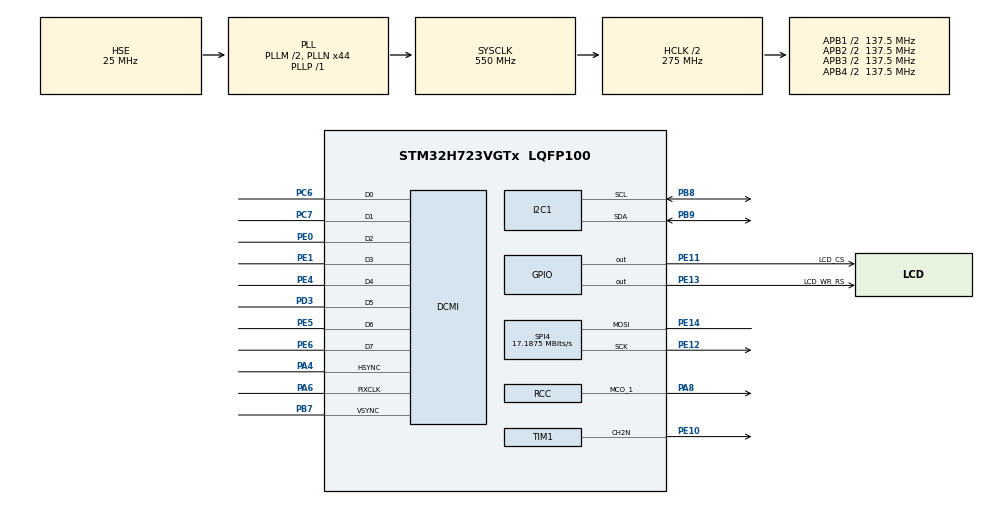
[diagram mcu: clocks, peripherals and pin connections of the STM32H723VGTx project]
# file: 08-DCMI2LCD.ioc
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CORTEX_M7.CPU_DCache=Disabled
CORTEX_M7.CPU_ICache=Disabled
CORTEX_M7.MPU_Control=__NULL
DCMI.CaptureRate=DCMI_CR_ALL_FRAME
DCMI.PCKPolarity=DCMI_PCKPOLARITY_RISING
Dma.DCMI.0.Direction=DMA_PERIPH_TO_MEMORY
Dma.DCMI.0.EventEnable=DISABLE
Dma.DCMI.0.FIFOMode=DMA_FIFOMODE_DISABLE
Dma.DCMI.0.Instance=DMA1_Stream0
Dma.DCMI.0.MemDataAlignment=DMA_MDATAALIGN_WORD
Dma.DCMI.0.MemInc=DMA_MINC_ENABLE
Dma.DCMI.0.Mode=DMA_CIRCULAR
Dma.DCMI.0.PeriphDataAlignment=DMA_PDATAALIGN_WORD
Dma.DCMI.0.PeriphInc=DMA_PINC_DISABLE
Dma.DCMI.0.Polarity=HAL_DMAMUX_REQ_GEN_RISING
Dma.DCMI.0.Priority=DMA_PRIORITY_MEDIUM
Dma.DCMI.0.RequestNumber=1
Dma.DCMI.0.SignalID=NONE
Dma.DCMI.0.SyncEnable=DISABLE
Dma.DCMI.0.SyncPolarity=HAL_DMAMUX_SYNC_NO_EVENT
Dma.DCMI.0.SyncRequestNumber=1
Dma.DCMI.0.SyncSignalID=NONE
Dma.Request0=DCMI
I2C1.Timing=0x60404E72
Mcu.Family=STM32H7
Mcu.Name=STM32H723VGTx
Mcu.Package=LQFP100
NVIC.DCMI_PSSI_IRQn=true\:0\:0\:false\:false\:true\:true\:true\:true
NVIC.DMA1_Stream0_IRQn=true\:0\:0\:false\:false\:true\:false\:true\:true
NVIC.PriorityGroup=NVIC_PRIORITYGROUP_4
PA13(JTMS/SWDIO).Mode=Serial_Wire
PA13(JTMS/SWDIO).Signal=DEBUG_JTMS-SWDIO
PA14(JTCK/SWCLK).Mode=Serial_Wire
PA14(JTCK/SWCLK).Signal=DEBUG_JTCK-SWCLK
PA4.Mode=Slave_8_bits_External_Synchro
PA4.Signal=DCMI_HSYNC
PA6.Mode=Slave_8_bits_External_Synchro
PA6.Signal=DCMI_PIXCLK
PA8.Mode=Clock-out-1
PA8.Signal=RCC_MCO_1
PB7.Mode=Slave_8_bits_External_Synchro
PB7.Signal=DCMI_VSYNC
PB8.Mode=I2C
PB8.Signal=I2C1_SCL
PB9.Mode=I2C
PB9.Signal=I2C1_SDA
PC14-OSC32_IN.Mode=LSE-External-Oscillator
PC14-OSC32_IN.Signal=RCC_OSC32_IN
PC15-OSC32_OUT.Mode=LSE-External-Oscillator
PC15-OSC32_OUT.Signal=RCC_OSC32_OUT
PC6.Mode=Slave_8_bits_External_Synchro
PC6.Signal=DCMI_D0
PC7.Mode=Slave_8_bits_External_Synchro
PC7.Signal=DCMI_D1
PD3.Mode=Slave_8_bits_External_Synchro
PD3.Signal=DCMI_D5
PE0.Mode=Slave_8_bits_External_Synchro
PE0.Signal=DCMI_D2
PE1.Mode=Slave_8_bits_External_Synchro
PE1.Signal=DCMI_D3
PE10.Mode=PWM Generation2 CH2N
PE10.Signal=TIM1_CH2N
PE11.GPIO_Label=LCD_CS
PE11.GPIO_Speed=GPIO_SPEED_FREQ_MEDIUM
PE11.Signal=GPIO_Output
PE12.GPIO_Speed=GPIO_SPEED_FREQ_MEDIUM
PE12.Mode=Simplex_Bidirectional_Master
PE12.Signal=SPI4_SCK
PE13.GPIO_Label=LCD_WR_RS
PE13.GPIO_Speed=GPIO_SPEED_FREQ_MEDIUM
PE13.Signal=GPIO_Output
PE14.GPIO_Speed=GPIO_SPEED_FREQ_MEDIUM
PE14.Mode=Simplex_Bidirectional_Master
PE14.Signal=SPI4_MOSI
PE4.Mode=Slave_8_bits_External_Synchro
PE4.Signal=DCMI_D4
PE5.Mode=Slave_8_bits_External_Synchro
PE5.Signal=DCMI_D6
PE6.Mode=Slave_8_bits_External_Synchro
PE6.Signal=DCMI_D7
PH0-OSC_IN.Mode=HSE-External-Oscillator
PH0-OSC_IN.Signal=RCC_OSC_IN
PH1-OSC_OUT.Mode=HSE-External-Oscillator
PH1-OSC_OUT.Signal=RCC_OSC_OUT
ProjectManager.HeapSize=0x200
ProjectManager.StackSize=0x400
ProjectManager.TargetToolchain=STM32CubeIDE
RCC.ADCFreq_Value=50390625
RCC.APB1Freq_Value=137500000
RCC.APB2Freq_Value=137500000
RCC.APB3Freq_Value=137500000
RCC.APB4Freq_Value=137500000
RCC.CortexFreq_Value=550000000
RCC.D1PPRE=RCC_APB3_DIV2
RCC.D2PPRE1=RCC_APB1_DIV2
RCC.D2PPRE2=RCC_APB2_DIV2
RCC.D3PPRE=RCC_APB4_DIV2
RCC.DIVM1=2
RCC.DIVN1=44
RCC.DIVP1=1
RCC.DIVQ1=46
RCC.HCLKFreq_Value=275000000
RCC.HPRE=RCC_HCLK_DIV2
RCC.PLLFRACN=0
RCC.PLLSourceVirtual=RCC_PLLSOURCE_HSE
RCC.RCC_MCO1Source=RCC_MCO1SOURCE_HSI48
RCC.RCC_MCODiv1=RCC_MCODIV_4
RCC.RTCClockSelection=RCC_RTCCLKSOURCE_LSE
RCC.SYSCLKFreq_VALUE=550000000
RCC.SYSCLKSource=RCC_SYSCLKSOURCE_PLLCLK
RCC.USBFreq_Value=11956521.739130436
SPI4.BaudRatePrescaler=SPI_BAUDRATEPRESCALER_8
SPI4.CalculateBaudRate=17.1875 MBits/s
SPI4.DataSize=SPI_DATASIZE_8BIT
SPI4.Direction=SPI_DIRECTION_1LINE
SPI4.Mode=SPI_MODE_MASTER
SPI4.VirtualType=VM_MASTER
TIM1.Channel-PWM\ Generation2\ CH2N=TIM_CHANNEL_2
TIM1.OCNPolarity_2=TIM_OCNPOLARITY_LOW
TIM1.Period=1000-1
TIM1.Prescaler=14-1
VP_RTC_VS_RTC_Activate.Mode=RTC_Enabled
VP_RTC_VS_RTC_Calendar.Mode=RTC_Calendar
board=custom

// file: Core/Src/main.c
/* USER CODE BEGIN Header */

/*---------------------------------------
- WeAct Studio Official Link
- taobao: weactstudio.taobao.com
- aliexpress: weactstudio.aliexpress.com
- github: github.com/WeActTC
- gitee: gitee.com/WeAct-TC
- blog: www.weact-tc.cn
---------------------------------------*/

/**
  ******************************************************************************
  * @file           : main.c
  * @brief          : Main program body
  ******************************************************************************
  * @attention
  *
  * Copyright (c) 2023 STMicroelectronics.
  * All rights reserved.
  *
  * This software is licensed under terms that can be found in the LICENSE file
  * in the root directory of this software component.
  * If no LICENSE file comes with this software, it is provided AS-IS.
  *
  ******************************************************************************
  */
/* USER CODE END Header */
#include "main.h"
#include "dcmi.h"
#include "dma.h"
#include "i2c.h"
#include "rtc.h"
#include "spi.h"
#include "tim.h"
#include "gpio.h"

/* USER CODE BEGIN Includes */
#include "board.h"
#include "lcd.h"
#include "camera.h"
/* USER CODE END Includes */

/* USER CODE BEGIN PV */
//#ifdef TFT96
// QQVGA
#define FrameWidth 160
#define FrameHeight 120
//#elif TFT18
//// QQVGA2
//#define FrameWidth 128
//#define FrameHeight 160
//#endif
// picture buffer
uint16_t pic[FrameWidth][FrameHeight];
volatile uint32_t DCMI_FrameIsReady = 0;
uint32_t Camera_FPS=0;
/* USER CODE END PV */

void SystemClock_Config(void);

/* USER CODE BEGIN 0 */
static void CPU_CACHE_Enable(void)
{
  /* Enable I-Cache */
  SCB_EnableICache();

  /* Enable D-Cache */
  SCB_EnableDCache();
}

static void MPU_Config(void)
{
  MPU_Region_InitTypeDef MPU_InitStruct = {0};

  /* Disables the MPU */
  HAL_MPU_Disable();

  /* Configure the MPU attributes for the QSPI 256MB without instruction access */
  MPU_InitStruct.Enable           = MPU_REGION_ENABLE;
  MPU_InitStruct.Number           = MPU_REGION_NUMBER0;
  MPU_InitStruct.BaseAddress      = OCTOSPI1_BASE;
  MPU_InitStruct.Size             = MPU_REGION_SIZE_256MB;
  MPU_InitStruct.AccessPermission = MPU_REGION_NO_ACCESS;
  MPU_InitStruct.IsBufferable     = MPU_ACCESS_NOT_BUFFERABLE;
  MPU_InitStruct.IsCacheable      = MPU_ACCESS_NOT_CACHEABLE;
  MPU_InitStruct.IsShareable      = MPU_ACCESS_NOT_SHAREABLE;
  MPU_InitStruct.DisableExec      = MPU_INSTRUCTION_ACCESS_DISABLE;
  MPU_InitStruct.TypeExtField     = MPU_TEX_LEVEL1;
  MPU_InitStruct.SubRegionDisable = 0x00;
  HAL_MPU_ConfigRegion(&MPU_InitStruct);

  /* Configure the MPU attributes for the QSPI 8MB (QSPI Flash Size) to Cacheable WT */
  MPU_InitStruct.Enable           = MPU_REGION_ENABLE;
  MPU_InitStruct.Number           = MPU_REGION_NUMBER1;
  MPU_InitStruct.BaseAddress      = OCTOSPI1_BASE;
  MPU_InitStruct.Size             = MPU_REGION_SIZE_8MB;
  MPU_InitStruct.AccessPermission = MPU_REGION_PRIV_RO;
  MPU_InitStruct.IsBufferable     = MPU_ACCESS_BUFFERABLE;
  MPU_InitStruct.IsCacheable      = MPU_ACCESS_CACHEABLE;
  MPU_InitStruct.IsShareable      = MPU_ACCESS_NOT_SHAREABLE;
  MPU_InitStruct.DisableExec      = MPU_INSTRUCTION_ACCESS_ENABLE;
  MPU_InitStruct.TypeExtField     = MPU_TEX_LEVEL1;
  MPU_InitStruct.SubRegionDisable = 0x00;
  HAL_MPU_ConfigRegion(&MPU_InitStruct);

  /* Setup AXI SRAM in Cacheable WB */
  MPU_InitStruct.Enable           = MPU_REGION_ENABLE;
  MPU_InitStruct.BaseAddress      = D1_AXISRAM_BASE;
  MPU_InitStruct.Size             = MPU_REGION_SIZE_512KB;
  MPU_InitStruct.AccessPermission = MPU_REGION_FULL_ACCESS;
  MPU_InitStruct.IsBufferable     = MPU_ACCESS_BUFFERABLE;
  MPU_InitStruct.IsCacheable      = MPU_ACCESS_CACHEABLE;
  MPU_InitStruct.IsShareable      = MPU_ACCESS_SHAREABLE;
  MPU_InitStruct.Number           = MPU_REGION_NUMBER2;
  MPU_InitStruct.TypeExtField     = MPU_TEX_LEVEL1;
  MPU_InitStruct.SubRegionDisable = 0x00;
  MPU_InitStruct.DisableExec      = MPU_INSTRUCTION_ACCESS_ENABLE;
  HAL_MPU_ConfigRegion(&MPU_InitStruct);

  /* Enables the MPU */
  HAL_MPU_Enable(MPU_PRIVILEGED_DEFAULT);
}
/* USER CODE END 0 */

int main(void)
{
  /* USER CODE BEGIN 1 */
  CPU_CACHE_Enable();
  MPU_Config();
  /* USER CODE END 1 */

  /* MCU Configuration--------------------------------------------------------*/

  /* Reset of all peripherals, Initializes the Flash interface and the Systick. */
  HAL_Init();

  /* Configure the system clock */
  SystemClock_Config();

  /* Initialize all configured peripherals */
  MX_GPIO_Init();
  MX_DMA_Init();
  MX_DCMI_Init();
  MX_I2C1_Init();
  MX_RTC_Init();
  MX_SPI4_Init();
  MX_TIM1_Init();
  /* USER CODE BEGIN 2 */
	board_button_init();
	board_led_init();

	LCD_Test();

	uint8_t text[30];

  sprintf((char *)&text, "Camera Not Found");
  LCD_ShowString(0, 58, ST7735Ctx.Width, 16, 16, text);

  #ifdef TFT96
	Camera_Init_Device(&hi2c1, FRAMESIZE_QQVGA);
	#elif TFT18
	Camera_Init_Device(&hi2c1, FRAMESIZE_QQVGA2);
	#endif
	//clean Ypos 58
	ST7735_LCD_Driver.FillRect(&st7735_pObj, 0, 58, ST7735Ctx.Width, 16, BLACK);

  while (HAL_GPIO_ReadPin(KEY_GPIO_Port, KEY_Pin) == GPIO_PIN_RESET)
  {

    sprintf((char *)&text, "Camera id:0x%x        ", hcamera.device_id);
    LCD_ShowString(4, 58, ST7735Ctx.Width, 16, 12, text);

		HAL_Delay(500);

    sprintf((char *)&text, "LongPress K1 to Run");
    LCD_ShowString(4, 58, ST7735Ctx.Width, 16, 12, text);

		HAL_Delay(500);
  }

  HAL_DCMI_Start_DMA(&hdcmi, DCMI_MODE_CONTINUOUS, (uint32_t)&pic, FrameWidth * FrameHeight * 2 / 4);

  /* USER CODE END 2 */

  /* Infinite loop */
  while (1)
  {

    /* USER CODE BEGIN 3 */
		if (DCMI_FrameIsReady)
    {
        DCMI_FrameIsReady = 0;
        #ifdef TFT96
        ST7735_FillRGBRect(&st7735_pObj,0,0,(uint8_t *)&pic[20][0], ST7735Ctx.Width, 80);
        #elif TFT18
        ST7735_FillRGBRect(&st7735_pObj,0,0,(uint8_t *)&pic[0][0], ST7735Ctx.Width, ST7735Ctx.Height);
        #endif

        sprintf((char *)&text,"%dFPS",Camera_FPS);
        LCD_ShowString(5,5,60,16,12,text);

        board_led_toggle();
    }
  }
  /* USER CODE END 3 */
}

void SystemClock_Config(void)
{
  RCC_OscInitTypeDef RCC_OscInitStruct = {0};
  RCC_ClkInitTypeDef RCC_ClkInitStruct = {0};

  /** Supply configuration update enable
  */
  HAL_PWREx_ConfigSupply(PWR_LDO_SUPPLY);

  /** Configure the main internal regulator output voltage
  */
  __HAL_PWR_VOLTAGESCALING_CONFIG(PWR_REGULATOR_VOLTAGE_SCALE0);

  while(!__HAL_PWR_GET_FLAG(PWR_FLAG_VOSRDY)) {}

  /** Configure LSE Drive Capability
  */
  HAL_PWR_EnableBkUpAccess();
  __HAL_RCC_LSEDRIVE_CONFIG(RCC_LSEDRIVE_LOW);

  /** Initializes the RCC Oscillators according to the specified parameters
  * in the RCC_OscInitTypeDef structure.
  */
  RCC_OscInitStruct.OscillatorType = RCC_OSCILLATORTYPE_HSI48|RCC_OSCILLATORTYPE_HSE
                              |RCC_OSCILLATORTYPE_LSE;
  RCC_OscInitStruct.HSEState = RCC_HSE_ON;
  RCC_OscInitStruct.LSEState = RCC_LSE_ON;
  RCC_OscInitStruct.HSI48State = RCC_HSI48_ON;
  RCC_OscInitStruct.PLL.PLLState = RCC_PLL_ON;
  RCC_OscInitStruct.PLL.PLLSource = RCC_PLLSOURCE_HSE;
  RCC_OscInitStruct.PLL.PLLM = 2;
  RCC_OscInitStruct.PLL.PLLN = 44;
  RCC_OscInitStruct.PLL.PLLP = 1;
  RCC_OscInitStruct.PLL.PLLQ = 46;
  RCC_OscInitStruct.PLL.PLLR = 2;
  RCC_OscInitStruct.PLL.PLLRGE = RCC_PLL1VCIRANGE_3;
  RCC_OscInitStruct.PLL.PLLVCOSEL = RCC_PLL1VCOWIDE;
  RCC_OscInitStruct.PLL.PLLFRACN = 0;
  if (HAL_RCC_OscConfig(&RCC_OscInitStruct) != HAL_OK)
  {
    Error_Handler();
  }

  /** Initializes the CPU, AHB and APB buses clocks
  */
  RCC_ClkInitStruct.ClockType = RCC_CLOCKTYPE_HCLK|RCC_CLOCKTYPE_SYSCLK
                              |RCC_CLOCKTYPE_PCLK1|RCC_CLOCKTYPE_PCLK2
                              |RCC_CLOCKTYPE_D3PCLK1|RCC_CLOCKTYPE_D1PCLK1;
  RCC_ClkInitStruct.SYSCLKSource = RCC_SYSCLKSOURCE_PLLCLK;
  RCC_ClkInitStruct.SYSCLKDivider = RCC_SYSCLK_DIV1;
  RCC_ClkInitStruct.AHBCLKDivider = RCC_HCLK_DIV2;
  RCC_ClkInitStruct.APB3CLKDivider = RCC_APB3_DIV2;
  RCC_ClkInitStruct.APB1CLKDivider = RCC_APB1_DIV2;
  RCC_ClkInitStruct.APB2CLKDivider = RCC_APB2_DIV2;
  RCC_ClkInitStruct.APB4CLKDivider = RCC_APB4_DIV2;

  if (HAL_RCC_ClockConfig(&RCC_ClkInitStruct, FLASH_LATENCY_3) != HAL_OK)
  {
    Error_Handler();
  }
  HAL_RCC_MCOConfig(RCC_MCO1, RCC_MCO1SOURCE_HSI48, RCC_MCODIV_4);
}

/* USER CODE BEGIN 4 */
void HAL_DCMI_FrameEventCallback(DCMI_HandleTypeDef *hdcmi)
{
	static uint32_t count = 0,tick = 0;

	if(HAL_GetTick() - tick >= 1000)
	{
		tick = HAL_GetTick();
		Camera_FPS = count;
		count = 0;
	}
	count ++;

  DCMI_FrameIsReady ++;
}
/* USER CODE END 4 */

void Error_Handler(void)
{
  __disable_irq();
  while (1)
  {
  }
}
